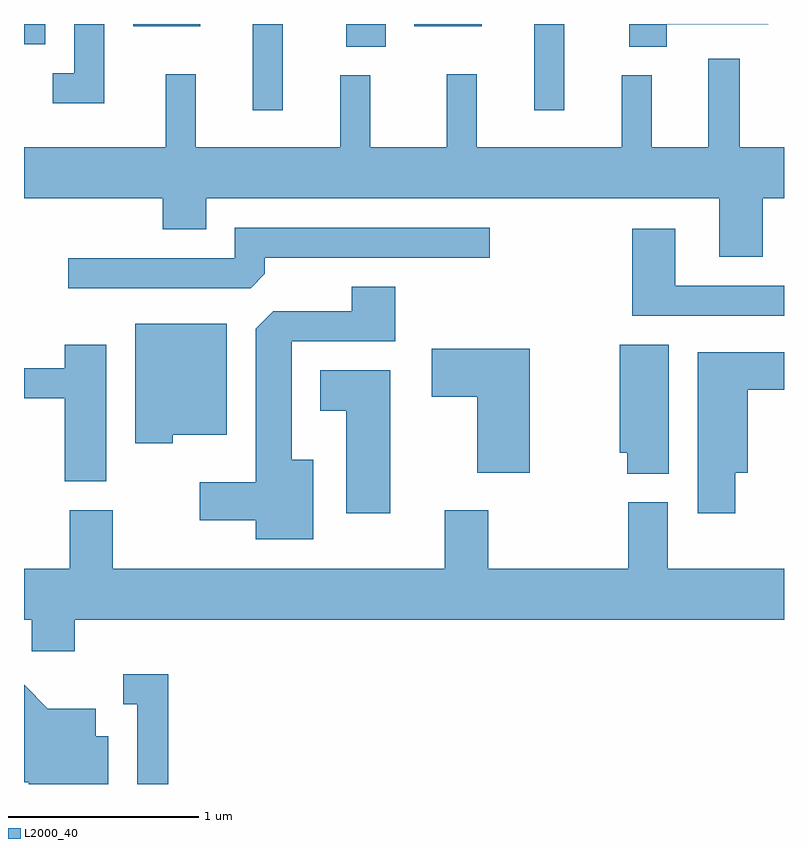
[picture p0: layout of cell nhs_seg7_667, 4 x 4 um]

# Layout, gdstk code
import gdstk
lib = gdstk.Library(unit=1e-6, precision=1e-09)
def R(c, l, rs):  # rectangles x0, y0, x1, y1
    for r in rs: c.add(gdstk.rectangle(r[:2], r[2:], *l))
def P(c, l, *ps):  # polygons
    for p in ps: c.add(gdstk.Polygon(p, *l))
L2000_40 = (2000, 40)

nhs_seg7_667 = lib.new_cell('nhs_seg7_667')
R(nhs_seg7_667, L2000_40, [(204.816,1805.798,204.974,1806.252), (206.296,1805.798,206.454,1806.252), (205.306,1806.131,205.514,1806.252), (203.611,1806.146,203.724,1806.252), (204.186,1806.241,204.539,1806.252), (205.666,1806.241,206.019,1806.252)])
P(nhs_seg7_667, L2000_40, [(206.994,1806.251),(207.529,1806.251),(207.529,1806.252),(206.796,1806.252),(206.796,1806.131),(206.994,1806.131)],
  [(204.034,1806.252),(203.876,1806.252),(203.876,1805.994),(203.763,1805.994),(203.763,1805.836),(204.034,1805.836)],
  [(207.499,1805.336),(207.611,1805.336),(207.611,1805.604),(207.379,1805.604),(207.379,1806.068),(207.211,1806.068),(207.211,1805.604),(206.914,1805.604),(206.914,1805.983),(206.756,1805.983),(206.756,1805.604),(205.994,1805.604),(205.994,1805.988),(205.836,1805.988),(205.836,1805.604),(205.434,1805.604),(205.434,1805.983),(205.276,1805.983),(205.276,1805.604),(204.514,1805.604),(204.514,1805.988),(204.356,1805.988),(204.356,1805.604),(203.611,1805.604),(203.611,1805.336),(204.341,1805.336),(204.341,1805.171),(204.569,1805.171),(204.569,1805.336),(207.271,1805.336),(207.271,1805.026),(207.499,1805.026)],
  [(204.879,1804.937),(204.879,1805.021),(206.063,1805.021),(206.063,1805.179),(204.721,1805.179),(204.721,1805.019),(203.843,1805.019),(203.843,1804.861),(204.804,1804.861)],
  [(207.611,1804.874),(207.039,1804.874),(207.039,1805.174),(206.811,1805.174),(206.811,1804.716),(207.611,1804.716)],
  [(205.134,1803.959),(205.019,1803.959),(205.019,1804.581),(205.564,1804.581),(205.564,1804.869),(205.336,1804.869),(205.336,1804.739),(204.922,1804.739),(204.831,1804.649),(204.831,1803.839),(204.536,1803.839),(204.536,1803.641),(204.831,1803.641),(204.831,1803.541),(205.134,1803.541)],
  [(204.394,1804.091),(204.679,1804.091),(204.679,1804.674),(204.196,1804.674),(204.196,1804.046),(204.394,1804.046)],
  [(204.044,1804.564),(203.826,1804.564),(203.826,1804.439),(203.611,1804.439),(203.611,1804.281),(203.826,1804.281),(203.826,1803.846),(204.044,1803.846)],
  [(207.004,1804.564),(206.746,1804.564),(206.746,1803.996),(206.786,1803.996),(206.786,1803.886),(207.004,1803.886)],
  [(206.274,1804.544),(205.756,1804.544),(205.756,1804.291),(205.996,1804.291),(205.996,1803.891),(206.274,1803.891)],
  [(207.354,1803.891),(207.419,1803.891),(207.419,1804.326),(207.611,1804.326),(207.611,1804.524),(207.156,1804.524),(207.156,1803.676),(207.354,1803.676)],
  [(205.539,1804.429),(205.171,1804.429),(205.171,1804.216),(205.306,1804.216),(205.306,1803.676),(205.539,1803.676)],
  [(203.879,1803.116),(207.611,1803.116),(207.611,1803.384),(206.999,1803.384),(206.999,1803.734),(206.791,1803.734),(206.791,1803.384),(206.054,1803.384),(206.054,1803.694),(205.826,1803.694),(205.826,1803.384),(204.079,1803.384),(204.079,1803.694),(203.851,1803.694),(203.851,1803.384),(203.611,1803.384),(203.611,1803.116),(203.651,1803.116),(203.651,1802.951),(203.879,1802.951)],
  [(204.369,1802.829),(204.133,1802.829),(204.133,1802.671),(204.206,1802.671),(204.206,1802.252),(204.369,1802.252)],
  [(204.054,1802.504),(203.989,1802.504),(203.989,1802.649),(203.737,1802.649),(203.611,1802.775),(203.611,1802.261),(203.636,1802.261),(203.636,1802.252),(204.054,1802.252)])

lib.write_gds('nhs_seg7_667.gds')
